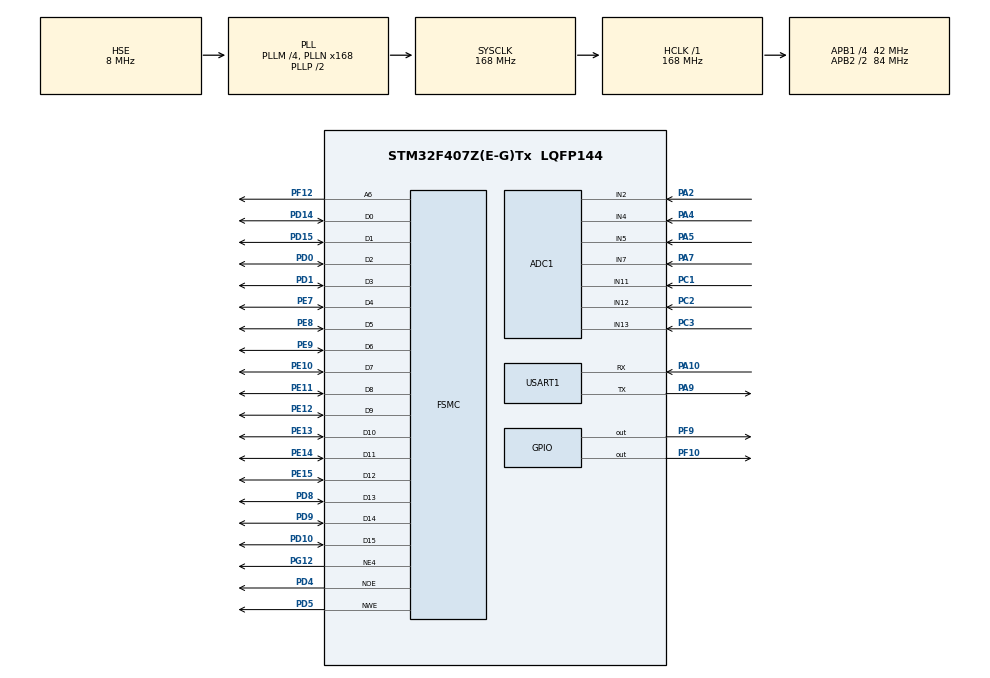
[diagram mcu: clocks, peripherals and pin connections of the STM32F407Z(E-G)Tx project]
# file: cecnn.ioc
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ADC1.Channel-0\#ChannelRegularConversion=ADC_CHANNEL_2
ADC1.Channel-1\#ChannelRegularConversion=ADC_CHANNEL_4
ADC1.Channel-2\#ChannelRegularConversion=ADC_CHANNEL_5
ADC1.Channel-3\#ChannelRegularConversion=ADC_CHANNEL_7
ADC1.Channel-4\#ChannelRegularConversion=ADC_CHANNEL_11
ADC1.Channel-5\#ChannelRegularConversion=ADC_CHANNEL_12
ADC1.Channel-6\#ChannelRegularConversion=ADC_CHANNEL_13
ADC1.ContinuousConvMode=ENABLE
ADC1.DMAContinuousRequests=ENABLE
ADC1.NbrOfConversion=7
ADC1.NbrOfConversionFlag=1
ADC1.Rank-0\#ChannelRegularConversion=1
ADC1.Rank-1\#ChannelRegularConversion=2
ADC1.Rank-2\#ChannelRegularConversion=3
ADC1.Rank-3\#ChannelRegularConversion=4
ADC1.Rank-4\#ChannelRegularConversion=5
ADC1.Rank-5\#ChannelRegularConversion=6
ADC1.Rank-6\#ChannelRegularConversion=7
ADC1.SamplingTime-0\#ChannelRegularConversion=ADC_SAMPLETIME_144CYCLES
ADC1.SamplingTime-1\#ChannelRegularConversion=ADC_SAMPLETIME_144CYCLES
ADC1.SamplingTime-2\#ChannelRegularConversion=ADC_SAMPLETIME_144CYCLES
ADC1.SamplingTime-3\#ChannelRegularConversion=ADC_SAMPLETIME_144CYCLES
ADC1.SamplingTime-4\#ChannelRegularConversion=ADC_SAMPLETIME_144CYCLES
ADC1.SamplingTime-5\#ChannelRegularConversion=ADC_SAMPLETIME_144CYCLES
ADC1.SamplingTime-6\#ChannelRegularConversion=ADC_SAMPLETIME_144CYCLES
ADC1.ScanConvMode=ENABLE
ADC1.master=1
Dma.ADC1.0.Direction=DMA_PERIPH_TO_MEMORY
Dma.ADC1.0.FIFOMode=DMA_FIFOMODE_DISABLE
Dma.ADC1.0.Instance=DMA2_Stream0
Dma.ADC1.0.MemDataAlignment=DMA_MDATAALIGN_HALFWORD
Dma.ADC1.0.MemInc=DMA_MINC_ENABLE
Dma.ADC1.0.Mode=DMA_CIRCULAR
Dma.ADC1.0.PeriphDataAlignment=DMA_PDATAALIGN_HALFWORD
Dma.ADC1.0.PeriphInc=DMA_PINC_DISABLE
Dma.ADC1.0.Priority=DMA_PRIORITY_LOW
Dma.Request0=ADC1
FSMC.ExtendedAddressSetupTime1=9
FSMC.ExtendedBusTurnAroundDuration1=0
FSMC.ExtendedDataSetupTime1=8
FSMC.ExtendedMode1=FSMC_EXTENDED_MODE_ENABLE
Mcu.Family=STM32F4
Mcu.Name=STM32F407Z(E-G)Tx
Mcu.Package=LQFP144
NVIC.DMA2_Stream0_IRQn=true\:0\:0\:false\:false\:true\:false\:true\:true
NVIC.PriorityGroup=NVIC_PRIORITYGROUP_4
NVIC.USART1_IRQn=true\:0\:0\:false\:false\:true\:true\:true\:true
PA10.Mode=Asynchronous
PA10.Signal=USART1_RX
PA13.Mode=Serial_Wire
PA13.Signal=SYS_JTMS-SWDIO
PA14.Mode=Serial_Wire
PA14.Signal=SYS_JTCK-SWCLK
PA2.Signal=ADCx_IN2
PA4.Signal=ADCx_IN4
PA5.Signal=ADCx_IN5
PA7.Signal=ADCx_IN7
PA9.Mode=Asynchronous
PA9.Signal=USART1_TX
PC1.Signal=ADCx_IN11
PC14-OSC32_IN.Mode=LSE-External-Oscillator
PC14-OSC32_IN.Signal=RCC_OSC32_IN
PC15-OSC32_OUT.Mode=LSE-External-Oscillator
PC15-OSC32_OUT.Signal=RCC_OSC32_OUT
PC2.Signal=ADCx_IN12
PC3.Signal=ADCx_IN13
PD0.Signal=FSMC_D2_DA2
PD1.Signal=FSMC_D3_DA3
PD10.Signal=FSMC_D15_DA15
PD14.Signal=FSMC_D0_DA0
PD15.Signal=FSMC_D1_DA1
PD4.Signal=FSMC_NOE
PD5.Signal=FSMC_NWE
PD8.Signal=FSMC_D13_DA13
PD9.Signal=FSMC_D14_DA14
PE10.Signal=FSMC_D7_DA7
PE11.Signal=FSMC_D8_DA8
PE12.Signal=FSMC_D9_DA9
PE13.Signal=FSMC_D10_DA10
PE14.Signal=FSMC_D11_DA11
PE15.Signal=FSMC_D12_DA12
PE7.Signal=FSMC_D4_DA4
PE8.Signal=FSMC_D5_DA5
PE9.Signal=FSMC_D6_DA6
PF10.GPIO_PuPd=GPIO_PULLUP
PF10.Signal=GPIO_Output
PF12.Signal=FSMC_A6
PF9.GPIO_PuPd=GPIO_PULLUP
PF9.Signal=GPIO_Output
PG12.Mode=NorPsramChipSelect4_1
PG12.Signal=FSMC_NE4
PH0-OSC_IN.Mode=HSE-External-Oscillator
PH0-OSC_IN.Signal=RCC_OSC_IN
PH1-OSC_OUT.Mode=HSE-External-Oscillator
PH1-OSC_OUT.Signal=RCC_OSC_OUT
ProjectManager.HeapSize=0x800
ProjectManager.StackSize=0x800
ProjectManager.TargetToolchain=MDK-ARM V5.32
RCC.48MHZClocksFreq_Value=84000000
RCC.AHBFreq_Value=168000000
RCC.APB1CLKDivider=RCC_HCLK_DIV4
RCC.APB1Freq_Value=42000000
RCC.APB1TimFreq_Value=84000000
RCC.APB2CLKDivider=RCC_HCLK_DIV2
RCC.APB2Freq_Value=84000000
RCC.APB2TimFreq_Value=168000000
RCC.CortexFreq_Value=168000000
RCC.HCLKFreq_Value=168000000
RCC.HSE_VALUE=8000000
RCC.HSI_VALUE=16000000
RCC.PLLM=4
RCC.PLLN=168
RCC.PLLSourceVirtual=RCC_PLLSOURCE_HSE
RCC.SYSCLKFreq_VALUE=168000000
RCC.SYSCLKSource=RCC_SYSCLKSOURCE_PLLCLK
RCC.VCOOutputFreq_Value=336000000
SH.ADCx_IN11.0=ADC1_IN11,IN11
SH.ADCx_IN12.0=ADC1_IN12,IN12
SH.ADCx_IN13.0=ADC1_IN13,IN13
SH.ADCx_IN2.0=ADC1_IN2,IN2
SH.ADCx_IN4.0=ADC1_IN4,IN4
SH.ADCx_IN5.0=ADC1_IN5,IN5
SH.ADCx_IN7.0=ADC1_IN7,IN7
SH.FSMC_A6.0=FSMC_A6,A6_1
SH.FSMC_D0_DA0.0=FSMC_D0,16b-d1
SH.FSMC_D10_DA10.0=FSMC_D10,16b-d1
SH.FSMC_D11_DA11.0=FSMC_D11,16b-d1
SH.FSMC_D12_DA12.0=FSMC_D12,16b-d1
SH.FSMC_D13_DA13.0=FSMC_D13,16b-d1
SH.FSMC_D14_DA14.0=FSMC_D14,16b-d1
SH.FSMC_D15_DA15.0=FSMC_D15,16b-d1
SH.FSMC_D1_DA1.0=FSMC_D1,16b-d1
SH.FSMC_D2_DA2.0=FSMC_D2,16b-d1
SH.FSMC_D3_DA3.0=FSMC_D3,16b-d1
SH.FSMC_D4_DA4.0=FSMC_D4,16b-d1
SH.FSMC_D5_DA5.0=FSMC_D5,16b-d1
SH.FSMC_D6_DA6.0=FSMC_D6,16b-d1
SH.FSMC_D7_DA7.0=FSMC_D7,16b-d1
SH.FSMC_D8_DA8.0=FSMC_D8,16b-d1
SH.FSMC_D9_DA9.0=FSMC_D9,16b-d1
SH.FSMC_NOE.0=FSMC_NOE,Lcd1
SH.FSMC_NWE.0=FSMC_NWE,Lcd1
STMicroelectronics.X-CUBE-AI.8.1.0.ActivationBufferSizeList=15204
STMicroelectronics.X-CUBE-AI.8.1.0.ActivationBuffers=pool0
STMicroelectronics.X-CUBE-AI.8.1.0.ActivationNames=pool0
STMicroelectronics.X-CUBE-AI.8.1.0.ActivationSizes=AI_CECNN_DATA_ACTIVATION_1_SIZE
STMicroelectronics.X-CUBE-AI.8.1.0.ApplicationCcDeviceJjApplication=Validation
STMicroelectronics.X-CUBE-AI.8.1.0.BSP.number=1
STMicroelectronics.X-CUBE-AI.8.1.0.HeapSize=0x800
STMicroelectronics.X-CUBE-AI.8.1.0.InternalRamActivationBufferMaxSize=AI_CECNN_DATA_ACTIVATIONS_SIZE
STMicroelectronics.X-CUBE-AI.8.1.0.LatestDirectoryUsed-aedb684c8c8814a475ab0b1569ceb66bfca96460a2f52826ca5960f63b8b545b=F\:\\DeepLreaningDemo\\algorithm\\Dataset\\1_OrginSamples
STMicroelectronics.X-CUBE-AI.8.1.0.MaximumNumberOfInputLayer=1
STMicroelectronics.X-CUBE-AI.8.1.0.MaximumNumberOfOutputLayer=1
STMicroelectronics.X-CUBE-AI.8.1.0.MaximumSizeOfInputLayer=1
STMicroelectronics.X-CUBE-AI.8.1.0.MaximumSizeOfOutputLayer=1
STMicroelectronics.X-CUBE-AI.8.1.0.ModelActualCompression-aedb684c8c8814a475ab0b1569ceb66bfca96460a2f52826ca5960f63b8b545b=3.83
STMicroelectronics.X-CUBE-AI.8.1.0.ModelCompression-aedb684c8c8814a475ab0b1569ceb66bfca96460a2f52826ca5960f63b8b545b=Low
STMicroelectronics.X-CUBE-AI.8.1.0.ModelFlashOccupation-aedb684c8c8814a475ab0b1569ceb66bfca96460a2f52826ca5960f63b8b545b=117566
STMicroelectronics.X-CUBE-AI.8.1.0.ModelHashList=aedb684c8c8814a475ab0b1569ceb66bfca96460a2f52826ca5960f63b8b545b
STMicroelectronics.X-CUBE-AI.8.1.0.ModelKind-aedb684c8c8814a475ab0b1569ceb66bfca96460a2f52826ca5960f63b8b545b=KERAS
STMicroelectronics.X-CUBE-AI.8.1.0.ModelMacc-aedb684c8c8814a475ab0b1569ceb66bfca96460a2f52826ca5960f63b8b545b=144009
STMicroelectronics.X-CUBE-AI.8.1.0.ModelName-aedb684c8c8814a475ab0b1569ceb66bfca96460a2f52826ca5960f63b8b545b=cecnn
STMicroelectronics.X-CUBE-AI.8.1.0.ModelNameList=cecnn
STMicroelectronics.X-CUBE-AI.8.1.0.ModelRamOccupation-aedb684c8c8814a475ab0b1569ceb66bfca96460a2f52826ca5960f63b8b545b=15204
STMicroelectronics.X-CUBE-AI.8.1.0.ModelStructureFile-aedb684c8c8814a475ab0b1569ceb66bfca96460a2f52826ca5960f63b8b545b=C\:\\Users\\Administrator\\Desktop\\E-CNN-400-360-7.h5
STMicroelectronics.X-CUBE-AI.8.1.0.ModelType-aedb684c8c8814a475ab0b1569ceb66bfca96460a2f52826ca5960f63b8b545b=Saved model
STMicroelectronics.X-CUBE-AI.8.1.0.ReadyForCodeGeneration=true
STMicroelectronics.X-CUBE-AI.8.1.0.StackSize=0x800
STMicroelectronics.X-CUBE-AI.8.1.0.ValidationInputFile-aedb684c8c8814a475ab0b1569ceb66bfca96460a2f52826ca5960f63b8b545b=F\:\\DeepLreaningDemo\\algorithm\\Dataset\\1_OrginSamples\\OrginSamples_360.npy
STMicroelectronics.X-CUBE-AI.8.1.0.ValidationInputFileHistory-aedb684c8c8814a475ab0b1569ceb66bfca96460a2f52826ca5960f63b8b545b=F\:\\DeepLreaningDemo\\algorithm\\Dataset\\2_Response\\Response_360.npy,F\:\\DeepLreaningDemo\\algorithm\\Dataset\\1_OrginSamples\\OrginSamples_360.npy
STMicroelectronics.X-CUBE-AI.8.1.0.ValidationOutputFile-aedb684c8c8814a475ab0b1569ceb66bfca96460a2f52826ca5960f63b8b545b=F\:\\DeepLreaningDemo\\algorithm\\Dataset\\labels.npy
STMicroelectronics.X-CUBE-AI.8.1.0.ValidationOutputFileHistory-aedb684c8c8814a475ab0b1569ceb66bfca96460a2f52826ca5960f63b8b545b=F\:\\DeepLreaningDemo\\algorithm\\Dataset\\labels.npy,F\:\\DeepLreaningDemo\\algorithm\\Dataset\\labels.npy
STMicroelectronics.X-CUBE-AI.8.1.0.WorkingBufferStartAddrList=0xFFFFFFFF
STMicroelectronics.X-CUBE-AI.8.1.0.XAaCUBEAaAICcArtificialOoIntelligenceJjCore=true
STMicroelectronics.X-CUBE-AI.8.1.0.copyWeightToRam=false
STMicroelectronics.X-CUBE-AI.8.1.0.copyWeightToRam-aedb684c8c8814a475ab0b1569ceb66bfca96460a2f52826ca5960f63b8b545b=false
STMicroelectronics.X-CUBE-AI.8.1.0.customLayerConfigEnabled=false
STMicroelectronics.X-CUBE-AI.8.1.0.customLayerConfigEnabled-aedb684c8c8814a475ab0b1569ceb66bfca96460a2f52826ca5960f63b8b545b=false
STMicroelectronics.X-CUBE-AI.8.1.0.noOnnxIoTranspose=false
STMicroelectronics.X-CUBE-AI.8.1.0.noOnnxIoTranspose-aedb684c8c8814a475ab0b1569ceb66bfca96460a2f52826ca5960f63b8b545b=false
STMicroelectronics.X-CUBE-AI.8.1.0.useInputAllocation=true
STMicroelectronics.X-CUBE-AI.8.1.0.useInputAllocation-aedb684c8c8814a475ab0b1569ceb66bfca96460a2f52826ca5960f63b8b545b=true
STMicroelectronics.X-CUBE-AI.8.1.0.useOutputAllocation=true
STMicroelectronics.X-CUBE-AI.8.1.0.useOutputAllocation-aedb684c8c8814a475ab0b1569ceb66bfca96460a2f52826ca5960f63b8b545b=true
STMicroelectronics.X-CUBE-AI.8.1.00.BSP.STBoard=false
STMicroelectronics.X-CUBE-AI.8.1.00.BSP.api=Unknown
STMicroelectronics.X-CUBE-AI.8.1.00.BSP.condition=\!SEMDeviceJjApplicationJjApplicationTemplate
STMicroelectronics.X-CUBE-AI.8.1.00.BSP.instance=USART1
STMicroelectronics.X-CUBE-AI.8.1.00.BSP.ip=USART
STMicroelectronics.X-CUBE-AI.8.1.00.BSP.mode=Asynchronous
STMicroelectronics.X-CUBE-AI.8.1.00.BSP.name=COM Port
STMicroelectronics.X-CUBE-AI.8.1.00.BSP.solution=USART1
USART1.VirtualMode=VM_ASYNC
VP_CRC_VS_CRC.Mode=CRC_Activate
VP_STMicroelectronics.X-CUBE-AI_VS_ArtificialOoIntelligenceJjXAaCUBEAaAI_8.1.0.Mode=ArtificialOoIntelligenceJjXAaCUBEAaAI
VP_STMicroelectronics.X-CUBE-AI_VS_DeviceJjApplication_8.1.0.Mode=DeviceJjApplication
board=custom

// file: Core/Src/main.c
/* USER CODE BEGIN Header */
/**
  ******************************************************************************
  * @file           : main.c
  * @brief          : Main program body
  ******************************************************************************
  * @attention
  *
  * Copyright (c) 2024 STMicroelectronics.
  * All rights reserved.
  *
  * This software is licensed under terms that can be found in the LICENSE file
  * in the root directory of this software component.
  * If no LICENSE file comes with this software, it is provided AS-IS.
  *
  ******************************************************************************
  */
/* USER CODE END Header */
#include "main.h"
#include "adc.h"
#include "crc.h"
#include "dma.h"
#include "usart.h"
#include "gpio.h"
#include "fsmc.h"
#include "app_x-cube-ai.h"

/* USER CODE BEGIN PTD */
#include "sys.h"
#include "delay.h"
#include "lcd.h"
#include "dht11.h"
#include "key.h"

ai_float potency1;
unsigned char Data_to_Send[40];

#define BYTE0(temp)	   (*(char*)(&temp))
#define BYTE1(temp)	   (*((char*)(&temp)+1))
#define BYTE2(temp)	   (*((char*)(&temp)+2))
#define BYTE3(temp)	   (*((char*)(&temp)+3))
/* USER CODE END PTD */

void SystemClock_Config(void);

/* USER CODE BEGIN 0 */
/* Global handle to reference the instantiated C-model */
static ai_handle network = AI_HANDLE_NULL;

/* Global c-array to handle the activations buffer */
AI_ALIGNED(32)
static ai_u8 activations[AI_CECNN_DATA_ACTIVATIONS_SIZE];

/* Array to store the data of the input tensor */
AI_ALIGNED(32)
static ai_float in_data[AI_CECNN_IN_1_SIZE];
/* or static ai_u8 in_data[AI_HAR_IGN_IN_1_SIZE_BYTES]; */

/* c-array to store the data of the output tensor */
AI_ALIGNED(32)
static ai_float out_data[AI_CECNN_OUT_1_SIZE];
/* static ai_u8 out_data[AI_HAR_IGN_OUT_1_SIZE_BYTES]; */

/* Array of pointer to manage the model's input/output tensors */
static ai_buffer *ai_input;
static ai_buffer *ai_output;
static ai_buffer_format fmt_input;
static ai_buffer_format fmt_output;

void buf_print(void)
{
	printf("in_data:");
	for (int i=0; i<AI_CECNN_IN_1_SIZE; i++)
	{
		printf("%f ",((ai_float*)in_data)[i]);
	}
	printf("\n");
	printf("out_data:");
	for (int i=0; i<AI_CECNN_OUT_1_SIZE; i++)
	{
		printf("%f ",((ai_float*)out_data)[i]);
	}
	printf("\n");
}

void aiPrintBufInfo(const ai_buffer *buffer)
{
	printf("(%lu, %lu, %lu, %lu)", AI_BUFFER_SHAPE_ELEM(buffer, AI_SHAPE_BATCH),
			  	  	  	  	  	  	 AI_BUFFER_SHAPE_ELEM(buffer, AI_SHAPE_HEIGHT),
	                                 AI_BUFFER_SHAPE_ELEM(buffer, AI_SHAPE_WIDTH),
	                                 AI_BUFFER_SHAPE_ELEM(buffer, AI_SHAPE_CHANNEL));
	printf(" buffer_size:%d ", (int)AI_BUFFER_SIZE(buffer));
}

void aiPrintDataType(const ai_buffer_format fmt)
{
    if (AI_BUFFER_FMT_GET_TYPE(fmt) == AI_BUFFER_FMT_TYPE_FLOAT)
    	printf("float%d ", (int)AI_BUFFER_FMT_GET_BITS(fmt));
    else if (AI_BUFFER_FMT_GET_TYPE(fmt) == AI_BUFFER_FMT_TYPE_BOOL) {
    	printf("bool%d ", (int)AI_BUFFER_FMT_GET_BITS(fmt));
    } else { /* integer type */
    	printf("%s%d ", AI_BUFFER_FMT_GET_SIGN(fmt)?"i":"u",
            (int)AI_BUFFER_FMT_GET_BITS(fmt));
    }
}

void aiPrintDataInfo(const ai_buffer *buffer,const ai_buffer_format fmt)
{
	  if (buffer->data)
		  printf(" @0x%X/%d \n",
	        (int)buffer->data,
	        (int)AI_BUFFER_BYTE_SIZE(AI_BUFFER_SIZE(buffer), fmt)
	    );
	  else
		  printf(" (User Domain)/%d \n",
	        (int)AI_BUFFER_BYTE_SIZE(AI_BUFFER_SIZE(buffer), fmt)
	    );
}

void aiPrintNetworkInfo(const ai_network_report report)
{
	printf(" Model name      : %s\r\n", report.model_name);
	printf(" model signature : %s\r\n", report.model_signature);
	printf(" model datetime     : %s\r\n", report.model_datetime);
	printf(" compile datetime   : %s\r\n", report.compile_datetime);
	printf(" runtime version    : %d.%d.%d\r\n",
	      report.runtime_version.major,
	      report.runtime_version.minor,
	      report.runtime_version.micro);
	if (report.tool_revision[0])
		printf(" Tool revision      : %s\r\n", (report.tool_revision[0])?report.tool_revision:"");
	printf(" tools version      : %d.%d.%d\r\n",
	      report.tool_version.major,
	      report.tool_version.minor,
	      report.tool_version.micro);
	printf(" complexity         : %lu MACC\r\n", (unsigned long)report.n_macc);
	printf(" c-nodes            : %d\r\n", (int)report.n_nodes);

	printf(" map_activations    : %d\r\n", report.map_activations.size);
	  for (int idx=0; idx<report.map_activations.size;idx++) {
	      const ai_buffer *buffer = &report.map_activations.buffer[idx];
	      printf("  [%d] ", idx);
	      aiPrintBufInfo(buffer);
	      printf("\r\n");
	  }

	printf(" map_weights        : %d\r\n", report.map_weights.size);
	  for (int idx=0; idx<report.map_weights.size;idx++) {
	      const ai_buffer *buffer = &report.map_weights.buffer[idx];
	      printf("  [%d] ", idx);
	      aiPrintBufInfo(buffer);
	      printf("\r\n");
	  }
}

int aiInit(void) {
  ai_error err;

  /* Create and initialize the c-model */
  const ai_handle acts[] = { activations };
  err = ai_cecnn_create_and_init(&network, acts, NULL);
  if (err.type != AI_ERROR_NONE) {
	  printf("ai_error_type:%d,ai_error_code:%d\r\n",err.type,err.code);
  };

  ai_network_report report;
  if (ai_cecnn_get_report(network, &report) != true) {
      printf("ai get report error\n");
      return -1;
  }

  aiPrintNetworkInfo(report);
  /* Reteive pointers to the model's input/output tensors */
  ai_input = ai_cecnn_inputs_get(network, NULL);
  ai_output = ai_cecnn_outputs_get(network, NULL);
  //
  fmt_input = AI_BUFFER_FORMAT(ai_input);
  fmt_output = AI_BUFFER_FORMAT(ai_output);

  printf(" n_inputs/n_outputs : %u/%u\r\n", report.n_inputs,
            report.n_outputs);
  printf("input :");
  aiPrintBufInfo(ai_input);
  aiPrintDataType(fmt_input);
  aiPrintDataInfo(ai_input, fmt_input);

	printf("\r\n");
  printf("output :");
  aiPrintBufInfo(ai_output);
  aiPrintDataType(fmt_output);
  aiPrintDataInfo(ai_output, fmt_output);
	printf("\r\n");
  return 0;
}
ai_float in_buf[2520];

int aiRun(const void *in_data, void *out_data) {
  ai_i32 n_batch;
  ai_error err;

  /* 1 - Update IO handlers with the data payload */
  ai_input[0].data = AI_HANDLE_PTR(in_data);
  ai_output[0].data = AI_HANDLE_PTR(out_data);

  /* 2 - Perform the inference */
  n_batch = ai_cecnn_run(network, &ai_input[0], &ai_output[0]);
  if (n_batch != 1) {
	  err = ai_cecnn_get_error(network);
	  printf("ai_error_type:%d,ai_error_code:%d\r\n",err.type,err.code);
  };
  return 0;
}

int post_process(void *out_data)
{
	ai_float max_out = 0;
	ai_float potency = 0;
	//printf("\r\npotency:\r\n");
//	for (int i=0; i<AI_CECNN_OUT_1_SIZE; i++)
//	{
////		if((((ai_float*)out_data)[i]) > max_out)
////		{
////			max_out = ((ai_float*)out_data)[i];
////			if(i == 1) potency  = 10;
////			else if(i == 2) potency  = 20;
////			else if(i == 3) potency  = 30;
////			else if(i == 4) potency  = 40;
////			else if(i == 5) potency  = 50;
////			else if(i == 6) potency  = 60;
////			else if(i == 7) potency  = 70;
////			else if(i == 8) potency  = 80;
////			else if(i == 9) potency  = 90;
////			else potency  = 100;
////		}
		potency1 = ((ai_float*)out_data)[0];
	//	printf("%f ",((ai_float*)out_data)[i]);
//	}
	//printf("\r\nMaximum_probability:%f \r\n",max_out);
	//printf("potency:%.2f (ppm) \r\n",potency);
	printf("\r\n");
	return 0;
}
int acquire_and_process_data(void *in_data)
{

	for (int i=0; i<AI_CECNN_IN_1_SIZE; i++)
	{
		((ai_float*)in_data)[i] =in_buf[i];
		//printf("%.4f ",((ai_float*)in_data)[i]);
		printf("%.4f ",in_buf[i]);
	}
	printf("\r\n");

	return 0;
}
void AnoTc_SendUserTest(uint16_t A, uint16_t B, uint16_t C, uint16_t D, uint16_t E, uint16_t F, uint16_t G)
{

	unsigned char _cnt = 0;
	unsigned char i;
	unsigned char sumcheck = 0;
	unsigned char addcheck = 0;

	Data_to_Send[_cnt++] = 0xAA;
	Data_to_Send[_cnt++] = 0xAA;
	Data_to_Send[_cnt++] = 0xF1;
	Data_to_Send[_cnt++] = 14;

	Data_to_Send[_cnt++] = BYTE1(A);
	Data_to_Send[_cnt++] = BYTE0(A);
	Data_to_Send[_cnt++] = BYTE1(B);
	Data_to_Send[_cnt++] = BYTE0(B);
	Data_to_Send[_cnt++] = BYTE1(C);
	Data_to_Send[_cnt++] = BYTE0(C);
	Data_to_Send[_cnt++] = BYTE1(D);
	Data_to_Send[_cnt++] = BYTE0(D);
	Data_to_Send[_cnt++] = BYTE1(E);
	Data_to_Send[_cnt++] = BYTE0(E);
	Data_to_Send[_cnt++] = BYTE1(F);
	Data_to_Send[_cnt++] = BYTE0(F);
	Data_to_Send[_cnt++] = BYTE1(G);
	Data_to_Send[_cnt++] = BYTE0(G);

	for(i = 0; i < _cnt; i++)
	{
		sumcheck += Data_to_Send[i];
		addcheck += sumcheck;
	}

	Data_to_Send[_cnt++]=sumcheck;
	Data_to_Send[_cnt++]=addcheck;
	HAL_UART_Transmit_IT(&huart1, Data_to_Send,_cnt);
}
/* USER CODE END 0 */

int main(void)
{
  /* USER CODE BEGIN 1 */
	int num = 0;
	int num1 = 0;
	u8 key = 0;
	u8 Concentration[12];
	uint16_t AD_Value[7];
	uint16_t AD_Value_baseline[7];

  /* USER CODE END 1 */

  /* MCU Configuration--------------------------------------------------------*/

  /* Reset of all peripherals, Initializes the Flash interface and the Systick. */
  HAL_Init();

  /* USER CODE BEGIN Init */
	delay_init(168);
  /* USER CODE END Init */

  /* Configure the system clock */
  SystemClock_Config();

  /* Initialize all configured peripherals */
  MX_GPIO_Init();
  MX_DMA_Init();
  MX_ADC1_Init();
  MX_FSMC_Init();
  MX_USART1_UART_Init();
  MX_CRC_Init();
  MX_X_CUBE_AI_Init();
  /* USER CODE BEGIN 2 */
  //KEY_Init();
	aiInit();
  HAL_ADC_Start_DMA(&hadc1,(uint32_t*)&AD_Value,7);
	LCD_Init();
	LCD_Clear(WHITE);
	POINT_COLOR=RED;
	HAL_Delay(1000);
  /* USER CODE END 2 */

  /* Infinite loop */
  while (1)
  {
    /* USER CODE BEGIN 3 */
	if(num==360){
		num = 0;
		acquire_and_process_data(in_data);
		aiRun(in_data, out_data);
		post_process(out_data);
		}
	num++;
	//HAL_GPIO_TogglePin(GPIOF,GPIO_PIN_9);
	//HAL_GPIO_TogglePin(GPIOF,GPIO_PIN_10);

	sprintf((char*)Concentration,"%.1f(ppm)",potency1);
	POINT_COLOR=RED;
	LCD_ShowString(280,40,240,32,32,"Electronic Nose");
	POINT_COLOR=BLACK;
	LCD_ShowString(100,100,210,32,32,"Sensor-1:");
	LCD_ShowString(100,140,210,32,32,"Sensor-2:");
	LCD_ShowString(100,180,210,32,32,"Sensor-3:");
	LCD_ShowString(100,220,210,32,32,"Sensor-4:");
	LCD_ShowString(100,260,210,32,32,"Sensor-5:");
	LCD_ShowString(100,300,210,32,32,"Sensor-6:");
	LCD_ShowString(100,340,210,32,32,"Sensor-7:");
	LCD_ShowxNum(260,100,AD_Value[0],4,32,0);
	LCD_ShowxNum(260,140,AD_Value[1],4,32,0);
	LCD_ShowxNum(260,180,AD_Value[2],4,32,0);
	LCD_ShowxNum(260,220,AD_Value[3],4,32,0);
	LCD_ShowxNum(260,260,AD_Value[4],4,32,0);
	LCD_ShowxNum(260,300,AD_Value[5],4,32,0);
	LCD_ShowxNum(260,340,AD_Value[6],4,32,0);
	LCD_ShowString(460,220,350,32,32,"Gas category:Ethylene");
	LCD_ShowString(460,300,350,32,32,"Current concentration:");
	LCD_ShowString(560,340,200,32,32,Concentration);
	POINT_COLOR=RED;
	LCD_ShowString(280,440,210,32,32,"Made by SWU_AI");
	AnoTc_SendUserTest(AD_Value[0],AD_Value[1],AD_Value[2],AD_Value[3],AD_Value[4],AD_Value[5],AD_Value[6]);
//	AD_Value[0] = 2146;
//	AD_Value[1] = 1749;
//	AD_Value[2] = 2369;
//	AD_Value[3] = 773;
//	AD_Value[4] = 2349;
//	AD_Value[5] = 1352;
//	AD_Value[6] = 2247;

	if (num1 == 360) num1 = 0;
	if (num1 == 0)
	{
		for (int i = 0; i < 7; i++) {
		AD_Value_baseline[i] = AD_Value[i];
	}
	}
	for (int i = 0; i < 7; i++) {
		in_buf[num1 * 7 + i] = AD_Value[i]-AD_Value_baseline[i]/AD_Value_baseline[i];
	}
	num1++;
	HAL_Delay(1000);
  }
  /* USER CODE END 3 */
}

void SystemClock_Config(void)
{
  RCC_OscInitTypeDef RCC_OscInitStruct = {0};
  RCC_ClkInitTypeDef RCC_ClkInitStruct = {0};

  /** Configure the main internal regulator output voltage
  */
  __HAL_RCC_PWR_CLK_ENABLE();
  __HAL_PWR_VOLTAGESCALING_CONFIG(PWR_REGULATOR_VOLTAGE_SCALE1);

  /** Initializes the RCC Oscillators according to the specified parameters
  * in the RCC_OscInitTypeDef structure.
  */
  RCC_OscInitStruct.OscillatorType = RCC_OSCILLATORTYPE_HSE;
  RCC_OscInitStruct.HSEState = RCC_HSE_ON;
  RCC_OscInitStruct.PLL.PLLState = RCC_PLL_ON;
  RCC_OscInitStruct.PLL.PLLSource = RCC_PLLSOURCE_HSE;
  RCC_OscInitStruct.PLL.PLLM = 4;
  RCC_OscInitStruct.PLL.PLLN = 168;
  RCC_OscInitStruct.PLL.PLLP = RCC_PLLP_DIV2;
  RCC_OscInitStruct.PLL.PLLQ = 4;
  if (HAL_RCC_OscConfig(&RCC_OscInitStruct) != HAL_OK)
  {
    Error_Handler();
  }

  /** Initializes the CPU, AHB and APB buses clocks
  */
  RCC_ClkInitStruct.ClockType = RCC_CLOCKTYPE_HCLK|RCC_CLOCKTYPE_SYSCLK
                              |RCC_CLOCKTYPE_PCLK1|RCC_CLOCKTYPE_PCLK2;
  RCC_ClkInitStruct.SYSCLKSource = RCC_SYSCLKSOURCE_PLLCLK;
  RCC_ClkInitStruct.AHBCLKDivider = RCC_SYSCLK_DIV1;
  RCC_ClkInitStruct.APB1CLKDivider = RCC_HCLK_DIV4;
  RCC_ClkInitStruct.APB2CLKDivider = RCC_HCLK_DIV2;

  if (HAL_RCC_ClockConfig(&RCC_ClkInitStruct, FLASH_LATENCY_5) != HAL_OK)
  {
    Error_Handler();
  }
}

void Error_Handler(void)
{
  __disable_irq();
  while (1)
  {
  }
}
